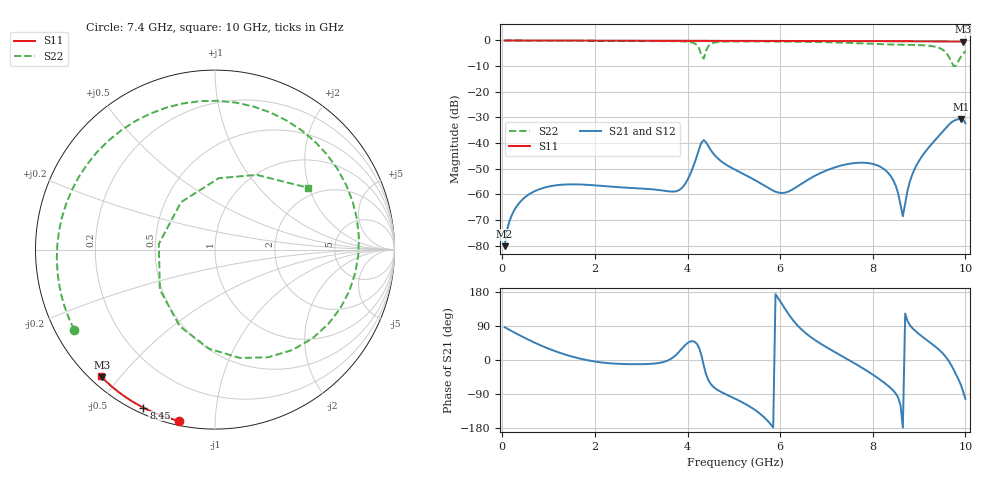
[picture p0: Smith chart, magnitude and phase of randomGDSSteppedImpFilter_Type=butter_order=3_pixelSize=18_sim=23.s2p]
! freq	dB(S11)	phase(S11)	dB(S12)	phase(S12)
!  dB(S21)	phase(S21)	dB(S22)	phase(S22)
!S-par simulation data
#  GHz  S  DB  R 50
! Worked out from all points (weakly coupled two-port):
!   200 points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, 50 MHz to 10 GHz, reference 50 ohm
!   highest |S21| = -30.58 dB at 9.9 GHz (marker M1); lowest = -80.3 dB at 50 MHz (marker M2)
!   lowest |S11| = -0.4 dB at 9.95 GHz (marker M3), VSWR 39.81, Z = 1.51 - j22.5 ohm
!   |S11| at or under -10 dB: nowhere
!   |S22| runs from -10.0 to 0.0 dB; largest |S21 - S12| = 0
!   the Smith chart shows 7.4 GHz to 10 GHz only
!   S11 on the Smith chart (normalised r, x): 7.4 GHz: 0.02, -0.81; 8.45 GHz: 0.02, -0.64; 10 GHz: 0.03, -0.44
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0.05  -0.00 -0.8  -80.26 86.6  -80.26 86.6  -0.01 -6.0
0.3  -0.01 -4.6  -65.00 70.0  -65.00 70.0  -0.05 -35.4
0.8  -0.01 -12.2  -58.04 40.1  -58.04 40.1  -0.11 -89.5
1.75  -0.03 -26.4  -56.24 1.6  -56.24 1.6  -0.16 -170.5
3.4  -0.07 -50.2  -58.39 -7.5  -58.39 -7.5  -0.24 76.8
4.15  -0.08 -60.5  -47.90 48.4  -47.90 48.4  -1.12 -1.8
4.3  -0.09 -62.6  -39.88 12.3  -39.88 12.3  -5.91 -92.4
4.35  -0.09 -63.3  -38.90 -14.2  -38.90 -14.2  -7.11 179.8
4.5  -0.09 -65.3  -42.71 -63.1  -42.71 -63.1  -1.40 66.7
5.05  -0.11 -72.6  -50.65 -103.5  -50.65 -103.5  -0.38 0.7
6  -0.15 -84.8  -59.47 155.4  -59.47 155.4  -0.43 -58.6
6.7  -0.18 -93.5  -53.30 57.1  -53.30 57.1  -0.59 -100.8
7.4  -0.22 -102.0  -48.44 5.8  -48.44 5.8  -0.89 -150.4
8.35  -0.29 -113.2  -52.04 -70.0  -52.04 -70.0  -1.55 109.0
8.45  -0.30 -114.4  -54.81 -81.6  -54.81 -81.6  -1.60 95.7
8.65  -0.31 -116.7  -68.57 -178.8  -68.57 -178.8  -1.68 68.1
9.1  -0.35 -121.9  -44.23 58.8  -44.23 58.8  -1.89 5.1
9.5  -0.39 -126.4  -35.75 18.9  -35.75 18.9  -3.49 -63.8
9.7  -0.41 -128.7  -31.96 -14.8  -31.96 -14.8  -8.41 -144.0
9.9  -0.44 -130.9  -30.58 -64.9  -30.58 -64.9  -6.43 60.8
9.95  -0.44 -131.5  -30.78 -82.6  -30.78 -82.6  -5.35 44.3
10  -0.44 -132.1  -32.28 -102.4  -32.28 -102.4  -4.10 33.5
